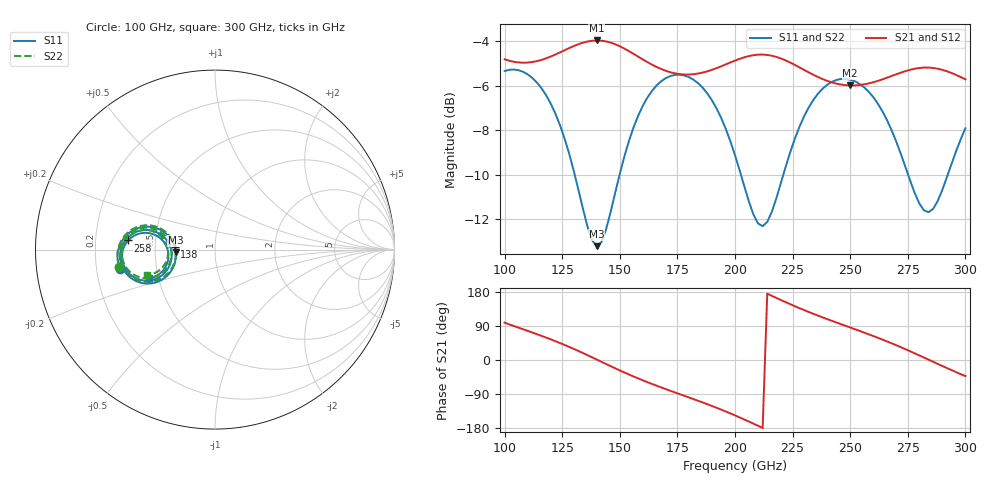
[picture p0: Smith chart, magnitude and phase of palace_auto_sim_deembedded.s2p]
! Created with skrf 1.11.0 (http://scikit-rf.org).
# GHz S DB R 50.0
!freq dBS11 angS11 dBS21 angS21 dBS12 angS12 dBS22 angS22
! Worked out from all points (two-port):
!   101 points, 100 GHz to 300 GHz, reference 50 ohm
!   highest |S21| = -3.96 dB at 140 GHz (marker M1); lowest = -6.0 dB at 250 GHz (marker M2)
!   |S21| within 3 dB of the highest: start of sweep to end of sweep
!   lowest |S11| = -13.2 dB at 140 GHz (marker M3), VSWR 1.56, Z = 32.1 - j1.02 ohm
!   |S11| at or under -10 dB: 130.4 GHz to 149.9 GHz (19.46 GHz wide, 13.9 % of centre); 202.6 GHz to 221 GHz (18.38 GHz wide, 8.68 % of centre); 275.1 GHz to 292.3 GHz (17.18 GHz wide, 6.06 % of centre)
!   |S22| runs from -13.2 to -5.3 dB; largest |S21 - S12| = 6.8e-14
!   S11 on the Smith chart (normalised r, x): 100 GHz: 0.30, -0.09; 138 GHz: 0.63, +0.02; 258 GHz: 0.35, +0.05; 300 GHz: 0.44, -0.17
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100  -5.33 -168.7  -4.80 98.4  -4.80 98.4  -5.33 -169.7
110  -5.48 177.7  -4.95 76.9  -4.95 76.9  -5.48 176.6
120  -6.79 165.5  -4.68 54.5  -4.68 54.5  -6.79 164.3
134  -11.53 164.3  -4.06 18.3  -4.06 18.3  -11.52 163.0
138  -12.95 175.8  -3.97 6.9  -3.97 6.9  -12.94 174.5
140  -13.21 -176.0  -3.96 1.2  -3.96 1.2  -13.20 -177.4
146  -11.68 -155.5  -4.05 -16.2  -4.05 -16.2  -11.68 -156.9
154  -8.47 -151.0  -4.44 -38.3  -4.44 -38.3  -8.47 -152.5
168  -5.79 -165.2  -5.24 -72.5  -5.24 -72.5  -5.79 -166.9
182  -5.72 177.5  -5.48 -103.2  -5.48 -103.2  -5.73 175.8
192  -7.02 166.9  -5.20 -126.1  -5.20 -126.1  -7.03 165.1
200  -9.12 163.1  -4.86 -146.1  -4.86 -146.1  -9.13 161.2
212  -12.31 -174.4  -4.59 -179.3  -4.59 -179.3  -12.35 -176.4
224  -8.97 -153.6  -4.95 147.2  -4.95 147.2  -8.99 -155.5
234  -6.63 -159.8  -5.50 121.9  -5.50 121.9  -6.64 -161.8
250  -5.72 -177.5  -5.98 85.7  -5.98 85.7  -5.72 -179.6
258  -6.26 173.9  -5.89 67.9  -5.89 67.9  -6.26 171.7
268  -8.00 166.4  -5.56 44.0  -5.56 44.0  -7.99 164.1
276  -10.25 168.7  -5.28 23.1  -5.28 23.1  -10.23 166.3
284  -11.68 -174.1  -5.18 0.9  -5.18 0.9  -11.64 -176.7
292  -10.10 -157.9  -5.34 -21.4  -5.34 -21.4  -10.07 -160.8
300  -7.91 -156.6  -5.70 -42.5  -5.70 -42.5  -7.90 -159.5
